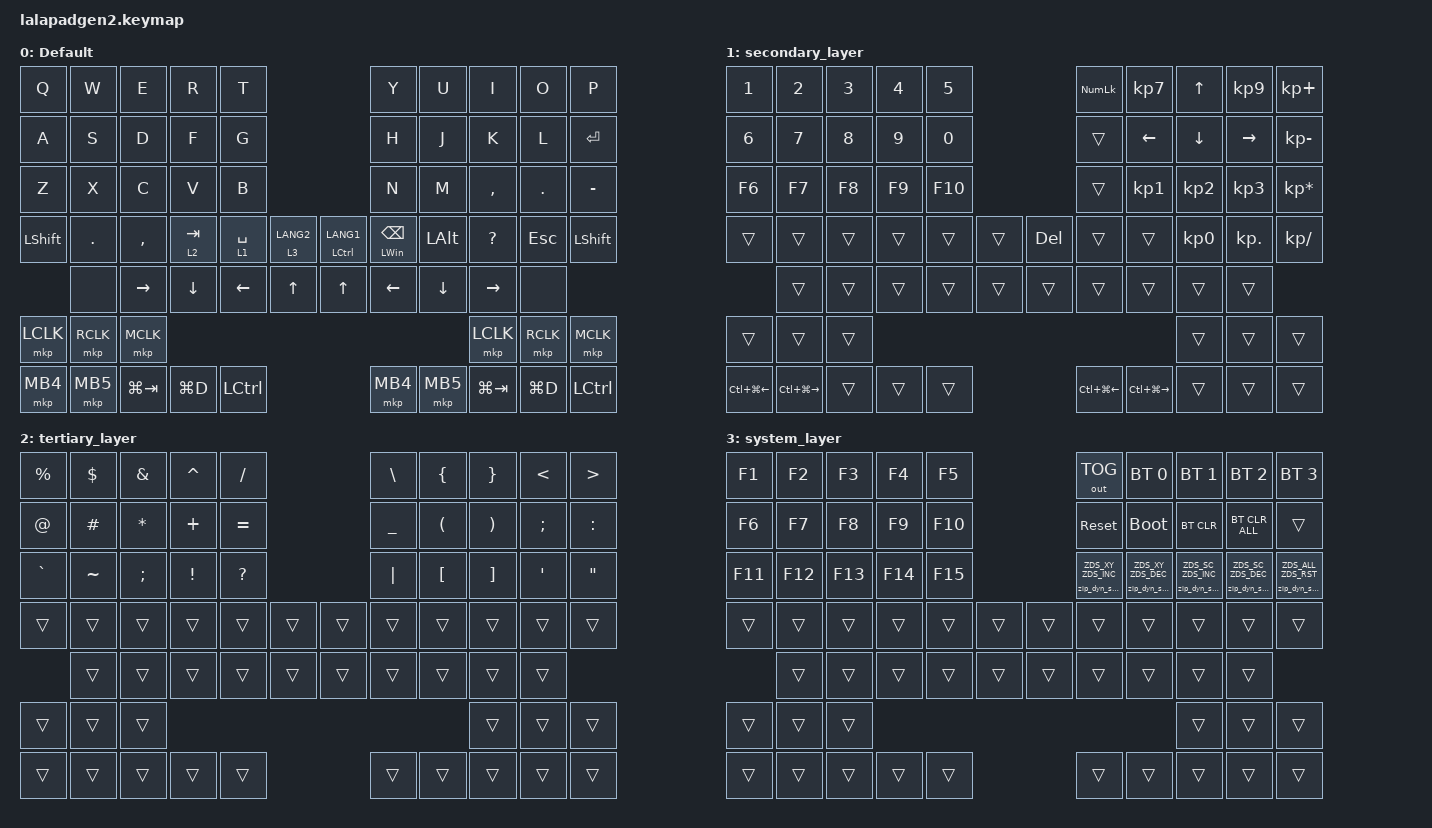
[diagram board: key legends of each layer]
#include <input/processors.dtsi>
#include <dt-bindings/zmk/zip_dynamic_scale.h>
#include <behaviors.dtsi>
#include <dt-bindings/zmk/bt.h>
#include <dt-bindings/zmk/keys.h>
#include <dt-bindings/zmk/outputs.h>
#include <dt-bindings/zmk/pointing.h>

#define DEFAULT_LAYER   0
#define SECONDARY_LAYER 1
#define TERTIARY_LAYER  2
#define SYSTEM_LAYER    3

&mt { quick-tap-ms = <200>; };

&lt { quick-tap-ms = <200>; };

/ {
    behaviors {
        zip_dyn_scale: zip_dyn_scale {
            compatible = "zmk,behavior-zip-dynamic-scale";
            #binding-cells = <2>;
        };

        zip_dyn_scale_set: zip_dyn_scale_set {
            compatible = "zmk,behavior-zip-dynamic-scale-set";
            #binding-cells = <2>;
        };

        mt2: mod_tap2 {
            compatible = "zmk,behavior-hold-tap";
            #binding-cells = <2>;
            flavor = "tap-preferred";
            tapping-term-ms = <200>;
            quick-tap-ms = <200>;
            require-prior-idle-ms = <125>;
            bindings = <&kp>, <&kp>;
        };

        tap_dance_layer_1and2: tap_dance_layer_1and2 {
            compatible = "zmk,behavior-tap-dance";
            label = "td_mo12";
            #binding-cells = <0>;
            bindings = <&mo 1>, <&mo 2>;
        };
    };

    combos {
        compatible = "zmk,combos";

        CONBO_ESC {
            bindings = <&kp ESCAPE>;
            key-positions = <0 1>;
        };

        COMBO_TAB {
            bindings = <&kp TAB>;
            key-positions = <10 11>;
        };
    };

    keymap {
        compatible = "zmk,keymap";

        DEFAULT_LAYER {
            display-name = "Default";
            bindings = <
&kp Q           &kp W       &kp E        &kp R      &kp T                                             &kp Y                   &kp U         &kp I         &kp O       &kp P
&kp A           &kp S       &kp D        &kp F      &kp G                                             &kp H                   &kp J         &kp K         &kp L       &kp ENTER
&kp Z           &kp X       &kp C        &kp V      &kp B                                             &kp N                   &kp M         &kp COMMA     &kp PERIOD  &kp MINUS
&kp LEFT_SHIFT  &kp PERIOD  &kp COMMA    &lt 2 TAB  &lt 1 SPACE  &lt 3 LANG2  &mt LEFT_CONTROL LANG1  &mt LEFT_WIN BACKSPACE  &kp LEFT_ALT  &kp QUESTION  &kp ESCAPE  &kp LEFT_SHIFT
                &none       &kp RIGHT    &kp DOWN   &kp LEFT     &kp UP       &kp UP                  &kp LEFT                &kp DOWN      &kp RIGHT     &none
&mkp LCLK       &mkp RCLK   &mkp MCLK                                                                                                       &mkp LCLK     &mkp RCLK   &mkp MCLK
&mkp MB4        &mkp MB5    &kp LG(TAB)  &kp LG(D)  &kp LCTRL                                         &mkp MB4                &mkp MB5      &kp LG(TAB)   &kp LG(D)   &kp LCTRL
            >;
        };

        SECONDARY_LAYER {
            display-name = "secondary_layer";
            bindings = <
&kp NUMBER_1      &kp NUMBER_2       &kp NUMBER_3  &kp NUMBER_4  &kp N5                    &kp KP_NUMLOCK    &kp KP_NUMBER_7    &kp UP_ARROW     &kp KP_NUMBER_9  &kp KP_PLUS
&kp NUMBER_6      &kp N7             &kp N8        &kp N9        &kp N0                    &trans            &kp LEFT           &kp DOWN_ARROW   &kp RIGHT        &kp KP_MINUS
&kp F6            &kp F7             &kp F8        &kp F9        &kp F10                   &trans            &kp KP_NUMBER_1    &kp KP_NUMBER_2  &kp KP_NUMBER_3  &kp KP_ASTERISK
&trans            &trans             &trans        &trans        &trans   &trans  &kp DEL  &trans            &trans             &kp KP_NUMBER_0  &kp KP_DOT       &kp KP_DIVIDE
                  &trans             &trans        &trans        &trans   &trans  &trans   &trans            &trans             &trans           &trans
&trans            &trans             &trans                                                                                     &trans           &trans           &trans
&kp LC(LG(LEFT))  &kp LC(LG(RIGHT))  &trans        &trans        &trans                    &kp LC(LG(LEFT))  &kp LC(LG(RIGHT))  &trans           &trans           &trans
            >;
        };

        TERTIARY_LAYER {
            display-name = "tertiary_layer";
            bindings = <
&kp PERCENT  &kp DOLLAR  &kp AMPERSAND  &kp CARET        &kp SLASH                     &kp BACKSLASH   &kp LEFT_BRACE        &kp RIGHT_BRACE        &kp LESS_THAN     &kp GREATER_THAN
&kp AT_SIGN  &kp HASH    &kp ASTERISK   &kp PLUS         &kp EQUAL                     &kp UNDERSCORE  &kp LEFT_PARENTHESIS  &kp RIGHT_PARENTHESIS  &kp SEMICOLON     &kp COLON
&kp GRAVE    &kp TILDE   &kp SEMI       &kp EXCLAMATION  &kp QUESTION                  &kp PIPE        &kp LEFT_BRACKET      &kp RIGHT_BRACKET      &kp SINGLE_QUOTE  &kp DOUBLE_QUOTES
&trans       &trans      &trans         &trans           &trans        &trans  &trans  &trans          &trans                &trans                 &trans            &trans
             &trans      &trans         &trans           &trans        &trans  &trans  &trans          &trans                &trans                 &trans
&trans       &trans      &trans                                                                                              &trans                 &trans            &trans
&trans       &trans      &trans         &trans           &trans                        &trans          &trans                &trans                 &trans            &trans
            >;
        };

        SYSTEM_LAYER {
            display-name = "system_layer";
            bindings = <
&kp F1   &kp F2   &kp F3   &kp F4   &kp F5                   &out OUT_TOG                   &bt BT_SEL 0                   &bt BT_SEL 1                   &bt BT_SEL 2                   &bt BT_SEL 3
&kp F6   &kp F7   &kp F8   &kp F9   &kp F10                  &sys_reset                     &bootloader                    &bt BT_CLR                     &bt BT_CLR_ALL                 &trans
&kp F11  &kp F12  &kp F13  &kp F14  &kp F15                  &zip_dyn_scale ZDS_XY ZDS_INC  &zip_dyn_scale ZDS_XY ZDS_DEC  &zip_dyn_scale ZDS_SC ZDS_INC  &zip_dyn_scale ZDS_SC ZDS_DEC  &zip_dyn_scale ZDS_ALL ZDS_RST
&trans   &trans   &trans   &trans   &trans   &trans  &trans  &trans                         &trans                         &trans                         &trans                         &trans
         &trans   &trans   &trans   &trans   &trans  &trans  &trans                         &trans                         &trans                         &trans
&trans   &trans   &trans                                                                                                   &trans                         &trans                         &trans
&trans   &trans   &trans   &trans   &trans                   &trans                         &trans                         &trans                         &trans                         &trans
            >;
        };
    };

    conditional_layers {
        compatible = "zmk,conditional-layers";

        Cond_Syslayer {
            if-layers = <1 2>;
            then-layer = <3>;
        };
    };
};
